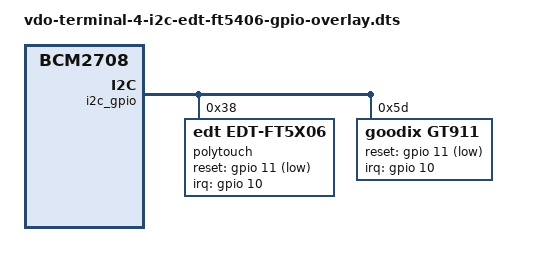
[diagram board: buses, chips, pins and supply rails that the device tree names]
/dts-v1/;
/plugin/;

/ {
	compatible = "brcm,bcm2708";

	fragment@0 {
		target = <&i2c_gpio>;
		__overlay__ {
			#address-cells = <1>;
			#size-cells = <0>;
			status = "okay";

			polytouch: polytouch@38 {
				compatible = "edt,edt-ft5x06";
				reg = <0x38>;
				status = "okay";
				interrupt-parent = <&gpio>;
				interrupts = <10 2>;
				reset-gpios = <&gpio 11 1>;
				touchscreen-size-x = <800>;
				touchscreen-size-y = <480>;
			};

		    gt911@5d {
			    compatible = "goodix,gt911";
			    reg = <0x5d>;
			    interrupt-parent = <&gpio>;
			    interrupts = <0 0>;

				status = "okay";
				interrupt-parent = <&gpio>;
				interrupts = <10 2>;
				reset-gpios = <&gpio 11 1>;
				touchscreen-size-x = <800>;
				touchscreen-size-y = <480>;
		    };
		};
	};
};
